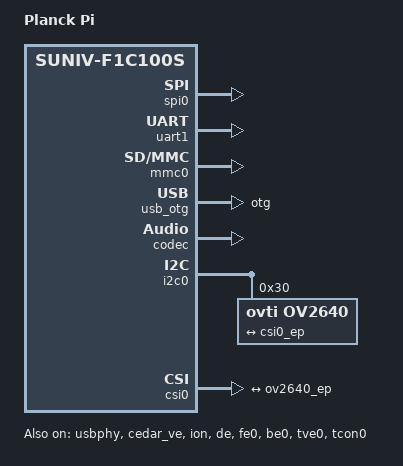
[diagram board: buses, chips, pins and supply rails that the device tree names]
// SPDX-License-Identifier: (GPL-2.0+ OR X11)

/dts-v1/;
#include "suniv-f1c100s.dtsi"

/ {
	model = "Planck Pi";
	compatible = "allwinner,suniv-f1c200s",
			 "allwinner,suniv-f1c100s";

	aliases {
		serial0 = &uart1;
	};

	chosen {
		#address-cells = <1>;
		#size-cells = <1>;
		ranges;

		stdout-path = "serial0:115200n8";
	};
};

&spi0 {
	status = "okay";
};

&uart0 {
	pinctrl-names = "default";
	pinctrl-0 = <&uart0_pe_pins>;
	// status = "okay";
};

&uart1 {
	pinctrl-names = "default";
	pinctrl-0 = <&uart1_pa_pins>;
	status = "okay";
};

&mmc0 {
	status = "okay";
	broken-cd;
};

&otg_sram {
	status = "okay";
};

&usb_otg {
	dr_mode = "otg"; /* host device */
	status = "okay";
};

&usbphy {
	status = "okay";
	usb0_id_det-gpios = <&pio 0 1 (GPIO_ACTIVE_HIGH | GPIO_PULL_UP)>; /* PA1 */
};

&cedar_ve {
	status = "okay";
};

&ion {
	status = "okay";
};

&de {
	status = "okay";
};

&fe0 {
	status = "okay";
};

&be0 {
	status = "okay";
};

&tve0 {
	status = "okay";
};

&tcon0 {
	pinctrl-names = "default";
	pinctrl-0 = <&lcd_rgb565_pins>;
	status = "okay";
};

&codec {
	allwinner,audio-routing =
		"Headphone", "HP",
		"Headphone", "HPCOM",
		"LINEIN", "Line In",
		"FMINL", "Left FM In",
		"FMINR", "Right FM In",
		"MIC", "Mic";
	status = "okay";
};

&i2c0 {
	pinctrl-names = "default";
	pinctrl-0 = <&i2c0_pd_pins>;
	status = "okay";

	ov2640: camera@30 {
		compatible = "ovti,ov2640";
		reg = <0x30>;
		pinctrl-0 = <&clk_out_pins>;
		pinctrl-names = "default";
		clocks = <&clk_out>;
		clock-names = "xvclk";
		assigned-clocks = <&clk_out>;
		assigned-clock-rates = <24000000>;

		port {
			ov2640_ep: endpoint {
				remote-endpoint = <&csi0_ep>;
				bus-width = <8>;
				hsync-active = <0>;
				vsync-active = <0>;
				pclk-sample = <1>;
			};
		};
	};

	ov5640: camera@3c {
		compatible = "ovti,ov5640";
		reg = <0x3c>;
		pinctrl-0 = <&clk_out_pins>;
		pinctrl-names = "default";
		clocks = <&clk_out>;
		clock-names = "xclk";
		assigned-clocks = <&clk_out>;
		assigned-clock-rates = <24000000>;
		status = "disabled";

		port {
			ov5640_ep: endpoint {
				remote-endpoint = <&csi0_ep>;
				bus-width = <8>;
				hsync-active = <0>;
				vsync-active = <0>;
				pclk-sample = <1>;
			};
		};
	};
};

&csi0 {
	pinctrl-names = "default";
	pinctrl-0 = <&csi0_pins>;
	packed-format;
	status = "okay";

	port {
		csi0_ep: endpoint {
			remote-endpoint = <&ov2640_ep>;
			bus-width = <8>;
			hsync-active = <0>;
			vsync-active = <0>;
			pclk-sample = <1>;
		};
	};
};
